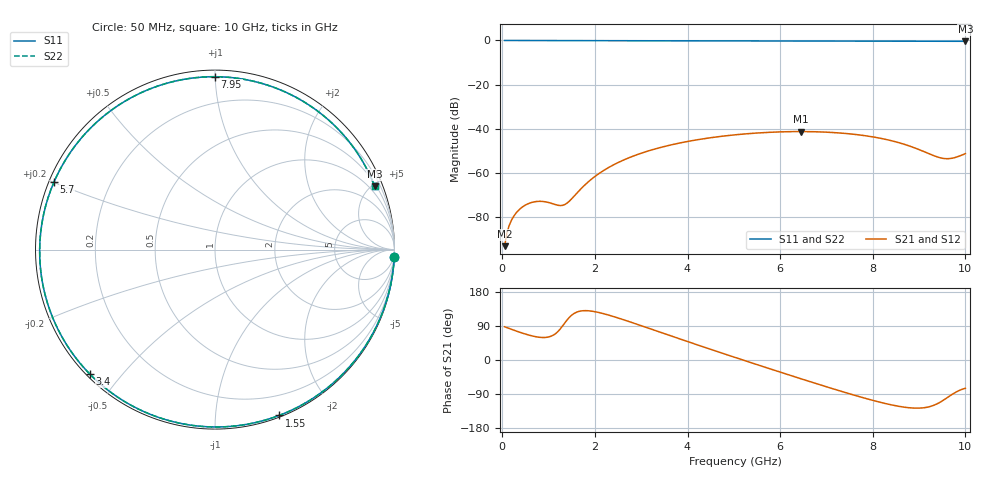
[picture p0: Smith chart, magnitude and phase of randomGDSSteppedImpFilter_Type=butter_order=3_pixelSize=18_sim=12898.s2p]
! freq	dB(S11)	phase(S11)	dB(S12)	phase(S12)
!  dB(S21)	phase(S21)	dB(S22)	phase(S22)
!S-par simulation data
#  GHz  S  DB  R 50
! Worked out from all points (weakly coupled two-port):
!   200 points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, 50 MHz to 10 GHz, reference 50 ohm
!   highest |S21| = -41.32 dB at 6.45 GHz (marker M1); lowest = -93.3 dB at 50 MHz (marker M2)
!   lowest |S11| = -0.4 dB at 10 GHz (marker M3), VSWR 45.15, Z = 31.1 + j259 ohm
!   |S11| at or under -10 dB: nowhere
!   |S22| runs from -0.4 to 0.0 dB; largest |S21 - S12| = 0
!   S11 on the Smith chart (normalised r, x): 50 MHz: 0, -49; 1.55 GHz: 0.01, -1.46; 3.4 GHz: 0.01, -0.41; 5.7 GHz: 0.01, +0.20; 7.95 GHz: 0.04, +1.00; 10 GHz: 0.62, +5.17
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0.05  -0.00 -2.4  -93.30 87.7  -93.30 87.7  -0.00 -2.4
0.25  -0.02 -11.6  -79.63 78.7  -79.63 78.7  -0.02 -11.6
0.45  -0.03 -20.8  -75.30 70.3  -75.30 70.3  -0.03 -20.8
0.65  -0.04 -29.9  -73.39 63.3  -73.39 63.3  -0.04 -29.9
1.3  -0.07 -58.4  -74.79 89.5  -74.79 89.5  -0.07 -58.4
1.55  -0.08 -68.8  -70.63 122.8  -70.63 122.8  -0.08 -68.8
1.75  -0.09 -76.9  -66.19 130.1  -66.19 130.1  -0.09 -76.9
2.05  -0.10 -88.5  -60.91 126.3  -60.91 126.3  -0.10 -88.5
2.45  -0.11 -103.3  -55.89 112.8  -55.89 112.8  -0.11 -103.2
3.4  -0.15 -135.2  -48.62 73.7  -48.62 73.7  -0.15 -135.2
4.2  -0.17 -159.6  -45.07 40.4  -45.07 40.4  -0.17 -159.6
5.05  -0.21 175.7  -42.75 5.8  -42.75 5.8  -0.21 175.8
5.7  -0.24 157.2  -41.73 -20.1  -41.73 -20.1  -0.24 157.3
6.45  -0.27 135.6  -41.32 -49.6  -41.32 -49.6  -0.27 135.7
6.7  -0.28 128.3  -41.38 -59.2  -41.38 -59.2  -0.28 128.3
7.35  -0.31 108.7  -42.06 -83.8  -42.06 -83.8  -0.31 108.8
7.95  -0.33 90.0  -43.56 -104.9  -43.56 -104.9  -0.33 90.1
8.35  -0.33 77.1  -45.20 -117.0  -45.20 -117.0  -0.33 77.2
8.9  -0.35 58.9  -48.68 -127.0  -48.68 -127.0  -0.35 59.0
9.5  -0.36 38.7  -53.41 -108.0  -53.41 -108.0  -0.36 38.8
9.7  -0.37 31.8  -53.46 -91.8  -53.46 -91.8  -0.37 31.9
10  -0.38 21.6  -51.33 -74.7  -51.33 -74.7  -0.38 21.7
